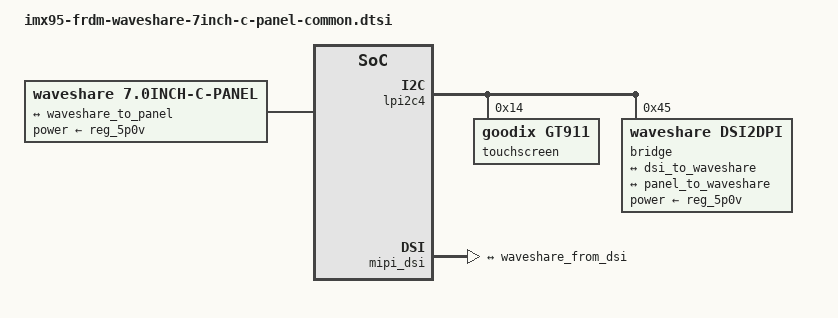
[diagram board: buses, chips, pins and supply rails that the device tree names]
// SPDX-License-Identifier: (GPL-2.0+ OR MIT)
/*
 * Copyright 2025-2026 NXP
 */

#include "imx95-clock.h"

/dts-v1/;
/plugin/;

&{/} {
	panel {
		compatible = "waveshare,7.0inch-c-panel", "panel-dpi";
		power-supply = <&reg_5p0v>;

		port {
			panel_to_waveshare: endpoint {
				remote-endpoint = <&waveshare_to_panel>;
			};
		};

		panel-timing {
			clock-frequency = <50000000>;
			hactive = <1024>;
			vactive = <600>;
			hfront-porch = <100>;
			hback-porch = <100>;
			hsync-len = <100>;
			vback-porch = <10>;
			vfront-porch = <10>;
			vsync-len = <10>;

			hsync-active = <0>;
			vsync-active = <0>;
			de-active = <1>;
			pixelclk-active = <1>;
		};
	};
};

&lpi2c4 {
	#address-cells = <1>;
	#size-cells = <0>;

	touchscreen@14 {
		compatible = "goodix,gt911";
		reg = <0x14>;
		touchscreen-size-x = <800>;
		touchscreen-size-y = <480>;
	};

	bridge@45 {
		compatible = "waveshare,dsi2dpi";
		reg = <0x45>;
		power-supply = <&reg_5p0v>;

		ports {
			#address-cells = <1>;
			#size-cells = <0>;

			port@0 {
				reg = <0>;

				waveshare_from_dsi: endpoint {
					data-lanes = <1 2>;
					remote-endpoint = <&dsi_to_waveshare>;
				};
			};

			port@1 {
				reg = <1>;

				waveshare_to_panel: endpoint {
					remote-endpoint = <&panel_to_waveshare>;
				};
			};
		};
	};
};

&mipi_dsi {
	status = "okay";

	ports {
		#address-cells = <1>;
		#size-cells = <0>;

		port@1 {
			reg = <1>;

			dsi_to_waveshare: endpoint {
				remote-endpoint = <&waveshare_from_dsi>;
			};
		};
	};
};
